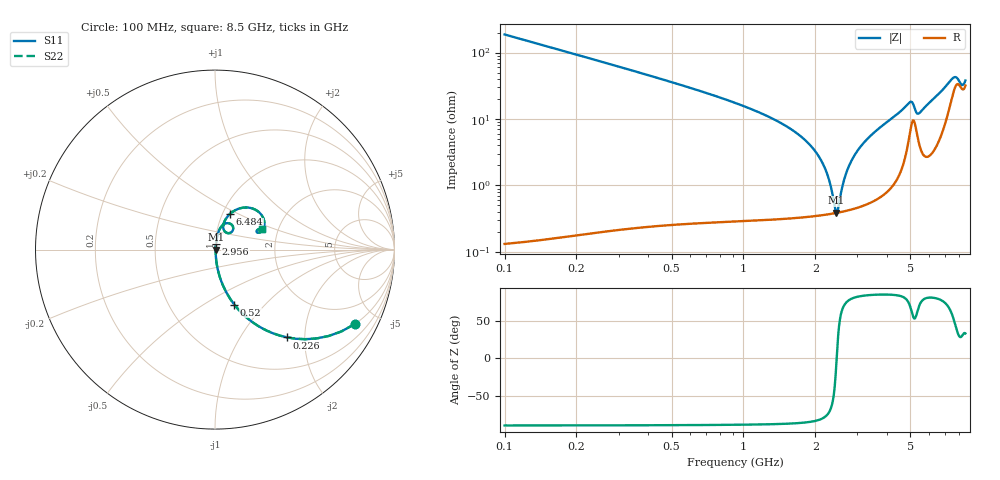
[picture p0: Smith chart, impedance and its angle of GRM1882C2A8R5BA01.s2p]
!Murata Part Number: GRM1882C2A8R5BA01
!These Parameters are Measured in Series Mode Connection
!Data Generated on Mar 30, 2021
!  o--ll--o
!Port1  Port2
!  o------o
!Operation Temp=25[degC], DC Bias Voltage=0[V]
!Freq. Start=100[MHz] Stop=9[GHz] 401[Steps]
# Hz S RI R 50
!Freq.(Hz) S11(Real) S11(Imag) S21(Real) S21(Imag) S12(Real) S12(Imag) S22(Real) S22(Imag)
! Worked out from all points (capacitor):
!   401 points, 100 MHz to 8.5 GHz, reference 50 ohm
!   read as one part in series: C = 8.51 pF near 142 MHz
!   lowest |Z| = 388 mohm at 2.452 GHz (marker M1)
!   series resonance near 2.457 GHz, so ESL is about 490 pH
!   S11 on the Smith chart (normalised r, x): 100 MHz: 1.00, -3.74; 226 MHz: 1.00, -1.64; 520 MHz: 1.01, -0.69; 2.956 GHz: 1.01, +0.06; 6.484 GHz: 1.08, +0.45; 8.5 GHz: 1.64, +0.41
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1e8  0.7772 -0.4157  0.2228 0.4157  0.2228 0.4157  0.7772 -0.4157
2.26e8  0.4028 -0.4893  0.5972 0.4893  0.5972 0.4893  0.4028 -0.4893
3.52e8  0.2143 -0.4081  0.7857 0.4081  0.7857 0.4081  0.2143 -0.4081
5.2e8  0.1076 -0.3061  0.8924 0.3061  0.8924 0.3061  0.1076 -0.3061
1.507e9  0.00921 -0.0775  0.9908 0.0775  0.9908 0.0775  0.00921 -0.0775
2.116e9  0.00409 -0.0233  0.9959 0.0233  0.9959 0.0233  0.00409 -0.0233
2.263e9  0.00383 -0.0129  0.9962 0.0129  0.9962 0.0129  0.00383 -0.0129
2.452e9  0.00385 -0.000326  0.9961 0.000326  0.9961 0.000326  0.00385 -0.000326
2.494e9  0.0039 0.00235  0.9961 -0.00235  0.9961 -0.00235  0.0039 0.00235
2.683e9  0.00432 0.014  0.9957 -0.014  0.9957 -0.014  0.00432 0.014
2.914e9  0.00521 0.0275  0.9948 -0.0275  0.9948 -0.0275  0.00521 0.0275
2.956e9  0.00542 0.0299  0.9946 -0.0299  0.9946 -0.0299  0.00542 0.0299
3.46e9  0.009 0.0579  0.991 -0.0579  0.991 -0.0579  0.009 0.0579
4.3e9  0.0223 0.1064  0.9777 -0.1064  0.9777 -0.1064  0.0223 0.1064
4.993e9  0.0839 0.1447  0.9161 -0.1447  0.9161 -0.1447  0.0839 0.1447
5.35e9  0.0625 0.0948  0.9375 -0.0948  0.9375 -0.0948  0.0625 0.0948
5.707e9  0.0459 0.1333  0.9541 -0.1333  0.9541 -0.1333  0.0459 0.1333
6.484e9  0.0822 0.1974  0.9178 -0.1974  0.9178 -0.1974  0.0822 0.1974
7.114e9  0.1607 0.2342  0.8393 -0.2342  0.8393 -0.2342  0.1607 0.2342
7.723e9  0.2728 0.1643  0.7272 -0.1643  0.7272 -0.1643  0.2728 0.1643
8.206e9  0.2343 0.0951  0.7657 -0.0951  0.7657 -0.0951  0.2343 0.0951
8.5e9  0.2595 0.116  0.7405 -0.116  0.7405 -0.116  0.2595 0.116
